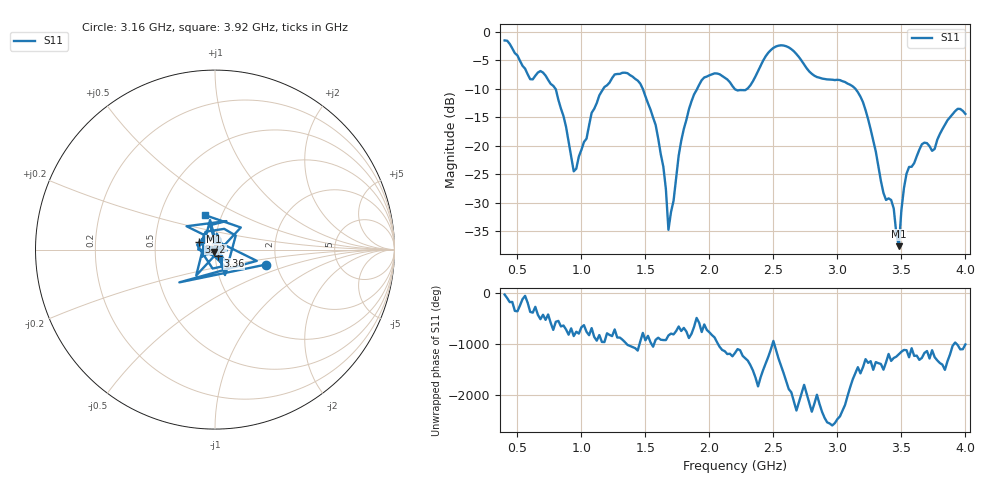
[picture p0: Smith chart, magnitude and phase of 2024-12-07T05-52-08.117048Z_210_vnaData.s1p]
!Created with skrf (http://scikit-rf.org).
# Hz S RI R 50.0
!freq ReS11 ImS11
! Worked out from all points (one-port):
!   181 points, 400 MHz to 4 GHz, reference 50 ohm
!   lowest |S11| = -37.6 dB at 3.48 GHz (marker M1), VSWR 1.03, Z = 49.3 - j1.1 ohm
!   |S11| at or under -10 dB: 797.2 MHz to 1.171 GHz (374.1 MHz wide, 38 % of centre); 1.479 GHz to 1.905 GHz (425.1 MHz wide, 25.1 % of centre); 3.141 GHz to end of sweep (the widest 3 of 4)
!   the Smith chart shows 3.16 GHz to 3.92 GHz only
!   S11 on the Smith chart (normalised r, x): 3.16 GHz: 1.75, -0.32; 3.36 GHz: 1.03, -0.07; 3.72 GHz: 0.83, +0.07; 3.92 GHz: 0.83, +0.33
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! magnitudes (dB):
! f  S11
! 400 MHz  -1.5
! 600 MHz  -8.3
! 720 MHz  -7.7
! 860 MHz  -14.8
! 940 MHz  -24.5
! 1.14 GHz  -11.2
! 1.3 GHz  -7.4
! 1.46 GHz  -9.1
! 1.58 GHz  -16.4
! 1.64 GHz  -23.7
! 1.68 GHz  -34.8
! 1.76 GHz  -21.7
! 1.94 GHz  -8.5
! 2.2 GHz  -10.1
! 2.3 GHz  -9.9
! 2.5 GHz  -2.8
! 2.66 GHz  -3.4
! 3.1 GHz  -9.3
! 3.16 GHz  -10.6
! 3.24 GHz  -15.3
! 3.36 GHz  -28.3
! 3.44 GHz  -31.0
! 3.48 GHz  -37.6
! 3.52 GHz  -27.4
! 3.56 GHz  -23.7
! 3.72 GHz  -20.1
! 3.92 GHz  -13.9
! 4 GHz  -14.4
